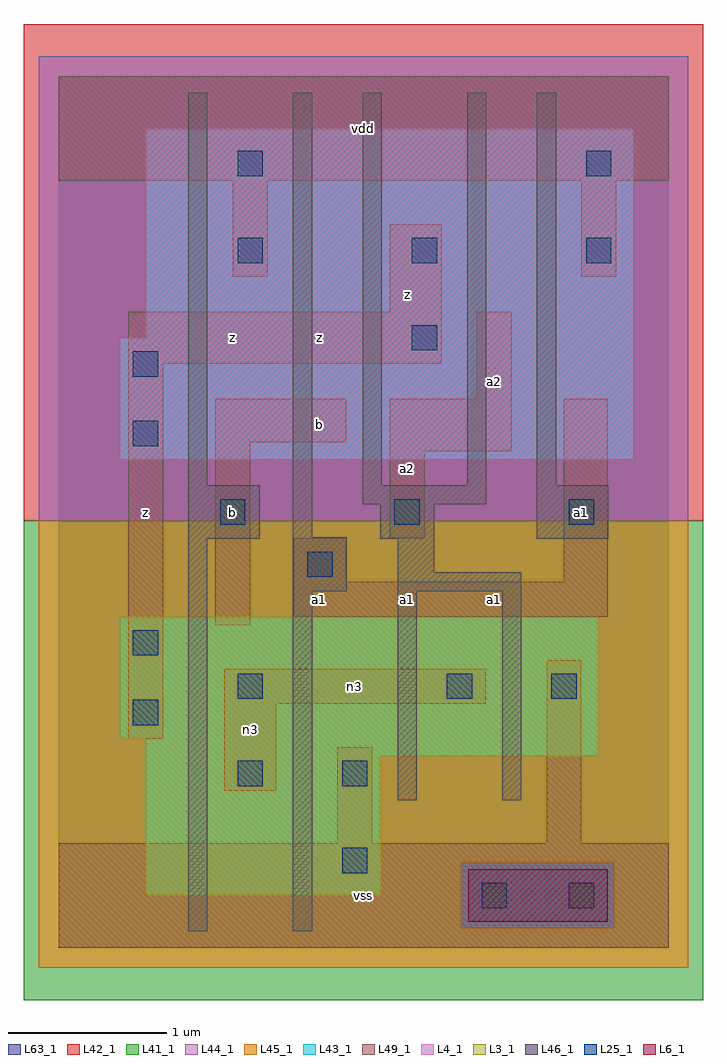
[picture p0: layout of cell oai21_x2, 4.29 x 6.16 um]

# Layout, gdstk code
import gdstk
lib = gdstk.Library(unit=1e-6, precision=1e-09)
def R(c, l, rs):  # rectangles x0, y0, x1, y1
    for r in rs: c.add(gdstk.rectangle(r[:2], r[2:], *l))
def A(c, l, x, y, w, h, nx, ny, dx, dy):  # array of equal rectangles
    R(c, l, [(x+i*dx, y+j*dy, x+i*dx+w, y+j*dy+h) for i in range(nx) for j in range(ny)])
L3_1 = (3, 1)
L4_1 = (4, 1)
L6_1 = (6, 1)
L25_1 = (25, 1)
L41_1 = (41, 1)
L42_1 = (42, 1)
L43_1 = (43, 1)
L44_1 = (44, 1)
L45_1 = (45, 1)
L46_1 = (46, 1)
L49_1 = (49, 1)
L63_1 = (63, 1)

oai21_x2 = lib.new_cell('oai21_x2')
R(oai21_x2, L3_1, [(0.55,0.33,2.035,1.21), (0.55,1.21,3.41,1.32), (0.385,1.32,3.41,2.09)])
R(oai21_x2, L4_1, [(0.385,3.08,3.63,3.85), (0.55,3.85,3.63,5.17)])
R(oai21_x2, L6_1, [(2.585,0.165,3.465,0.495)])
A(oai21_x2, L25_1, 1.02, 2.67, 0.16, 0.16, 3, 1, 1.1, 0)
A(oai21_x2, L25_1, 1.13, 4.32, 0.16, 0.16, 3, 1, 1.1, 0)
R(oai21_x2, L25_1, [(2.67,0.25,2.83,0.41), (3.22,0.25,3.38,0.41), (1.79,0.47,1.95,0.63), (1.13,1.02,1.29,1.18), (1.79,1.02,1.95,1.18), (0.47,1.405,0.63,1.565), (1.13,1.57,1.29,1.73), (2.45,1.57,2.61,1.73), (3.11,1.57,3.27,1.73), (0.47,1.845,0.63,2.005), (1.57,2.34,1.73,2.5), (0.47,3.165,0.63,3.325), (0.47,3.605,0.63,3.765), (2.23,3.77,2.39,3.93), (1.13,4.87,1.29,5.03), (3.33,4.87,3.49,5.03)])
R(oai21_x2, L41_1, [(-0.22,-0.33,4.07,2.695)])
R(oai21_x2, L42_1, [(-0.22,2.695,4.07,5.83)])
R(oai21_x2, L43_1, [(2.585,0.165,3.465,0.495), (0.55,0.33,2.035,1.21), (0.55,1.21,3.41,1.32), (0.385,1.32,3.41,2.09), (0.385,3.08,3.63,3.85), (0.55,3.85,3.63,5.17)])
R(oai21_x2, L44_1, [(2.545,0.125,3.505,0.535), (-0.125,2.695,3.975,5.625)])
R(oai21_x2, L45_1, [(-0.125,-0.125,3.975,0.125), (-0.125,0.125,2.545,0.535), (3.505,0.125,3.975,0.535), (-0.125,0.535,3.975,2.695)])
R(oai21_x2, L46_1, [(0.82,0.105,0.94,2.58), (1.48,0.105,1.6,2.25), (2.14,0.93,2.26,2.25), (2.8,0.93,2.92,2.25), (1.48,2.25,1.82,2.59), (2.14,2.25,2.92,2.37), (2.14,2.37,2.37,2.58), (0.82,2.58,1.27,2.92), (2.03,2.58,2.37,2.8), (3.02,2.58,3.47,2.92), (1.48,2.59,1.6,5.395), (1.92,2.8,2.7,2.92), (0.82,2.92,0.94,5.395), (1.92,2.92,2.04,5.395), (2.58,2.92,2.7,5.395), (3.02,2.92,3.14,5.395)])
R(oai21_x2, L49_1, [(0,0,3.85,0.66), (1.76,0.66,1.98,1.265), (3.08,0.66,3.3,1.815), (1.045,0.99,1.375,1.54), (0.44,1.32,0.66,3.685), (1.045,1.54,2.695,1.76), (0.99,2.035,1.21,3.19), (1.485,2.09,3.465,2.31), (1.485,2.31,1.815,2.585), (3.19,2.31,3.465,3.465), (2.09,2.585,2.31,3.135), (2.09,3.135,2.86,3.465), (0.99,3.19,1.815,3.465), (2.64,3.465,2.86,4.015), (0.44,3.685,2.42,4.015), (2.09,4.015,2.42,4.565), (1.1,4.235,1.32,4.84), (3.3,4.235,3.52,4.84), (0,4.84,3.85,5.5)])
R(oai21_x2, L63_1, [(0,0,3.85,5.5)])
oai21_x2.add(gdstk.Label('n3', (1.21,1.375), layer=49, texttype=1))
oai21_x2.add(gdstk.Label('z', (0.55,2.75), layer=49, texttype=1))
oai21_x2.add(gdstk.Label('z', (0.55,2.75), layer=49, texttype=1))
oai21_x2.add(gdstk.Label('b', (1.1,2.75), layer=49, texttype=1))
oai21_x2.add(gdstk.Label('b', (1.1,2.75), layer=49, texttype=1))
oai21_x2.add(gdstk.Label('z', (1.1,3.85), layer=49, texttype=1))
oai21_x2.add(gdstk.Label('z', (1.1,3.85), layer=49, texttype=1))
oai21_x2.add(gdstk.Label('vss', (1.925,0.33), layer=49, texttype=1))
oai21_x2.add(gdstk.Label('vss', (1.925,0.33), layer=49, texttype=1))
oai21_x2.add(gdstk.Label('a1', (1.65,2.2), layer=49, texttype=1))
oai21_x2.add(gdstk.Label('a1', (1.65,2.2), layer=49, texttype=1))
oai21_x2.add(gdstk.Label('b', (1.65,3.3), layer=49, texttype=1))
oai21_x2.add(gdstk.Label('b', (1.65,3.3), layer=49, texttype=1))
oai21_x2.add(gdstk.Label('z', (1.65,3.85), layer=49, texttype=1))
oai21_x2.add(gdstk.Label('z', (1.65,3.85), layer=49, texttype=1))
oai21_x2.add(gdstk.Label('vdd', (1.925,5.17), layer=49, texttype=1))
oai21_x2.add(gdstk.Label('vdd', (1.925,5.17), layer=49, texttype=1))
oai21_x2.add(gdstk.Label('n3', (1.87,1.65), layer=49, texttype=1))
oai21_x2.add(gdstk.Label('a1', (2.75,2.2), layer=49, texttype=1))
oai21_x2.add(gdstk.Label('a1', (2.75,2.2), layer=49, texttype=1))
oai21_x2.add(gdstk.Label('a1', (2.2,2.2), layer=49, texttype=1))
oai21_x2.add(gdstk.Label('a1', (2.2,2.2), layer=49, texttype=1))
oai21_x2.add(gdstk.Label('a2', (2.2,3.025), layer=49, texttype=1))
oai21_x2.add(gdstk.Label('a2', (2.2,3.025), layer=49, texttype=1))
oai21_x2.add(gdstk.Label('z', (2.2,4.125), layer=49, texttype=1))
oai21_x2.add(gdstk.Label('z', (2.2,4.125), layer=49, texttype=1))
oai21_x2.add(gdstk.Label('a2', (2.75,3.575), layer=49, texttype=1))
oai21_x2.add(gdstk.Label('a2', (2.75,3.575), layer=49, texttype=1))
oai21_x2.add(gdstk.Label('a1', (3.3,2.75), layer=49, texttype=1))
oai21_x2.add(gdstk.Label('a1', (3.3,2.75), layer=49, texttype=1))

lib.write_gds('oai21_x2.gds')
